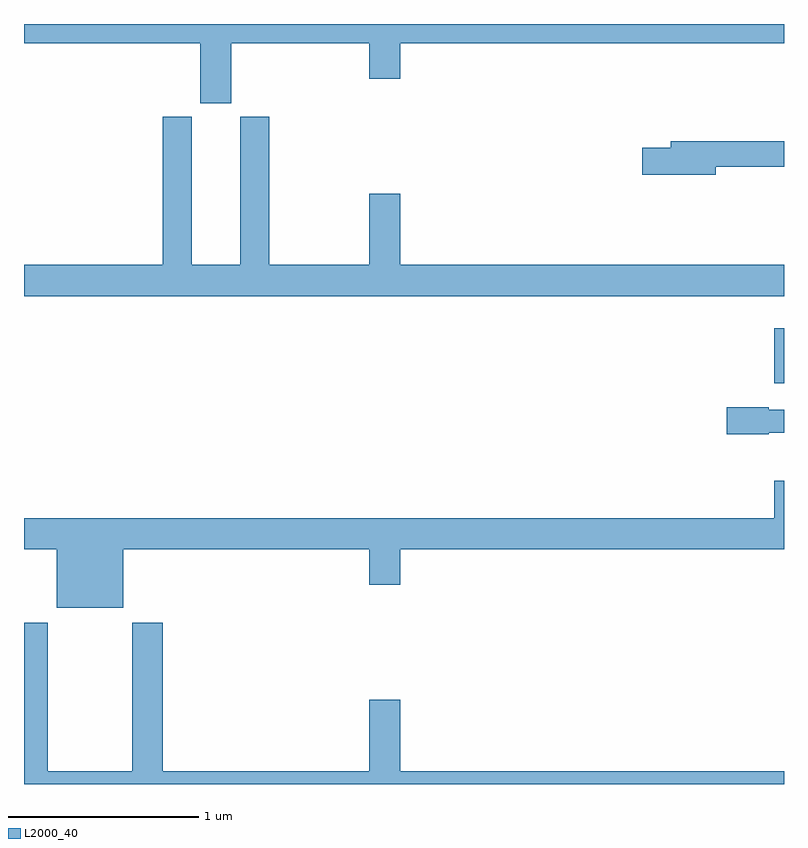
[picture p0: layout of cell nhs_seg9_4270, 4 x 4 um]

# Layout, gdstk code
import gdstk
lib = gdstk.Library(unit=1e-6, precision=1e-09)
def R(c, l, rs):  # rectangles x0, y0, x1, y1
    for r in rs: c.add(gdstk.rectangle(r[:2], r[2:], *l))
def P(c, l, *ps):  # polygons
    for p in ps: c.add(gdstk.Polygon(p, *l))
L2000_40 = (2000, 40)

nhs_seg9_4270 = lib.new_cell('nhs_seg9_4270')
R(nhs_seg9_4270, L2000_40, [(358.949,1214.609,359,1214.899)])
P(nhs_seg9_4270, L2000_40, [(356.092,1216.4),(356.816,1216.4),(356.816,1216.212),(356.98,1216.212),(356.98,1216.4),(359,1216.4),(359,1216.5),(355,1216.5),(355,1216.4),(355.928,1216.4),(355.928,1216.083),(356.092,1216.083)],
  [(359,1215.232),(356.98,1215.232),(356.98,1215.607),(356.816,1215.607),(356.816,1215.232),(356.291,1215.232),(356.291,1216.011),(356.138,1216.011),(356.138,1215.232),(355.882,1215.232),(355.882,1216.011),(355.73,1216.011),(355.73,1215.232),(355,1215.232),(355,1215.068),(359,1215.068)],
  [(358.642,1215.748),(359,1215.748),(359,1215.884),(358.403,1215.884),(358.403,1215.848),(358.254,1215.848),(358.254,1215.706),(358.642,1215.706)],
  [(358.92,1214.348),(359,1214.348),(359,1214.47),(358.92,1214.47),(358.92,1214.483),(358.698,1214.483),(358.698,1214.341),(358.92,1214.341)],
  [(355.522,1213.736),(356.816,1213.736),(356.816,1213.548),(356.98,1213.548),(356.98,1213.736),(359,1213.736),(359,1214.095),(358.949,1214.095),(358.949,1213.9),(355,1213.9),(355,1213.736),(355.172,1213.736),(355.172,1213.427),(355.522,1213.427)],
  [(356.98,1212.943),(356.816,1212.943),(356.816,1212.568),(355.73,1212.568),(355.73,1213.348),(355.57,1213.348),(355.57,1212.568),(355.125,1212.568),(355.125,1213.348),(355,1213.348),(355,1212.5),(359,1212.5),(359,1212.568),(356.98,1212.568)])

lib.write_gds('nhs_seg9_4270.gds')
